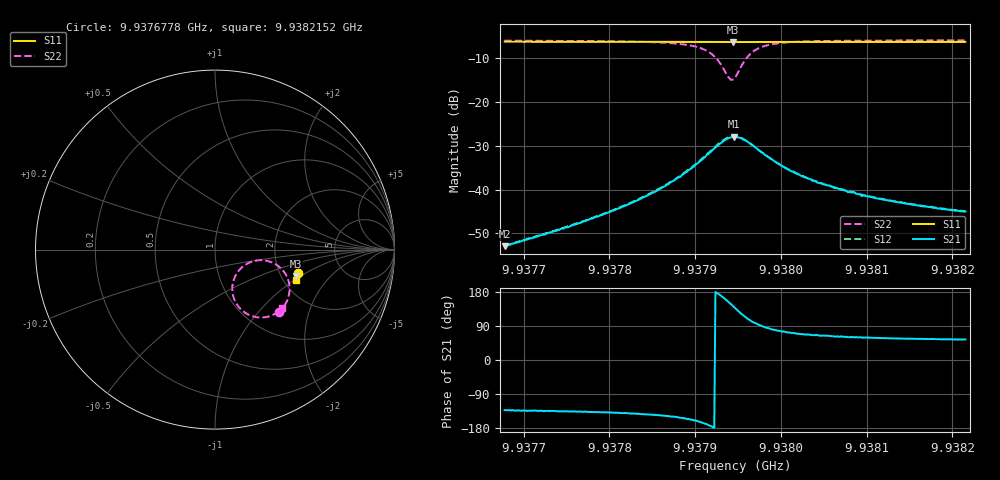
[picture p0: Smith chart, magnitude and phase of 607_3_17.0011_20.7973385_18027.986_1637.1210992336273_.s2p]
#  HZ  S  RI  R  50.00
! Rohde & Schwarz Vector Network Analyzer
! Rohde-Schwarz,ZNB20-2Port,1311601062101988,3.16
! Created: UTC 3/20/2024, 11:19:17 PM
! freq[Hz]  re:S11  im:S11  re:S21  im:S21  re:S12  im:S12  re:S22  im:S22
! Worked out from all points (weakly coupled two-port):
!   401 points, 9.9376778 GHz to 9.9382152 GHz, reference 50 ohm
!   highest |S21| = -28.00 dB at 9.9379451 GHz (marker M1); lowest = -52.9 dB at 9.9376778 GHz (marker M2)
!   lowest |S11| = -6.4 dB at 9.9379438 GHz (marker M3), VSWR 2.82, Z = 120 - j46 ohm
!   |S11| at or under -10 dB: nowhere
!   |S22| runs from -15.0 to -6.1 dB; largest |S21 - S12| = 0.0019
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9.93767775e9  0.4632 -0.1331  -0.00152 -0.00168  -0.00157 -0.00165  0.3544 -0.3449
9.93776777e9  0.4609 -0.1392  -0.00306 -0.00294  -0.00317 -0.00292  0.336 -0.357
9.93782286e9  0.4594 -0.143  -0.00529 -0.00432  -0.00545 -0.00429  0.3138 -0.3676
9.93785779e9  0.4582 -0.1456  -0.00828 -0.00563  -0.0085 -0.0056  0.2862 -0.3755
9.93789138e9  0.4565 -0.1481  -0.015 -0.00673  -0.0153 -0.00658  0.2311 -0.3764
9.93791153e9  0.4551 -0.1493  -0.0229 -0.00481  -0.0237 -0.00461  0.1661 -0.3506
9.93792228e9  0.4539 -0.1497  -0.0292 -0.000575  -0.03 0.000144  0.122 -0.3054
9.93793168e9  0.453 -0.1493  -0.0339 0.00802  -0.0348 0.00911  0.0967 -0.2305
9.93793975e9  0.4525 -0.1486  -0.0341 0.0185  -0.0343 0.0202  0.1141 -0.1456
9.93794378e9  0.4525 -0.1481  -0.0317 0.0238  -0.0315 0.0257  0.1421 -0.1067
9.93794512e9  0.4526 -0.1479  -0.0306 0.0255  -0.0302 0.0272  0.1542 -0.0957
9.93794646e9  0.4526 -0.1479  -0.0291 0.027  -0.0288 0.0287  0.1671 -0.0862
9.93795318e9  0.4533 -0.1476  -0.0211 0.0323  -0.0203 0.0335  0.2395 -0.0598
9.93796124e9  0.4543 -0.1478  -0.0113 0.0331  -0.0102 0.0336  0.317 -0.0711
9.93796796e9  0.4549 -0.1483  -0.00521 0.0307  -0.00423 0.0313  0.3609 -0.0984
9.93797468e9  0.4553 -0.149  -0.00121 0.0279  -0.000319 0.0279  0.3875 -0.1282
9.93798946e9  0.4556 -0.1504  0.00346 0.0217  0.00404 0.0219  0.4118 -0.1838
9.93800961e9  0.4554 -0.1524  0.00495 0.0158  0.00535 0.016  0.4155 -0.2314
9.93803648e9  0.4549 -0.1547  0.00516 0.0115  0.00546 0.0117  0.4089 -0.2662
9.93807948e9  0.4537 -0.1579  0.00465 0.0081  0.00479 0.00812  0.3971 -0.2946
9.9381265e9  0.4524 -0.161  0.00402 0.00631  0.00419 0.00628  0.3875 -0.3109
9.93821517e9  0.4502 -0.167  0.00327 0.00455  0.0034 0.00451  0.3745 -0.3278
